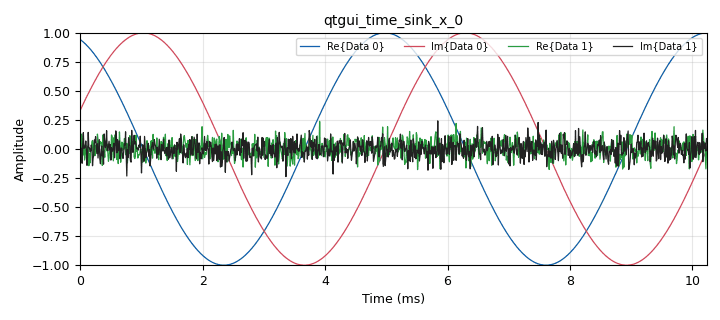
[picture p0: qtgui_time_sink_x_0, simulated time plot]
options:
  parameters:
    generate_options: qt_gui
    id: test_numbersink
    output_language: python
    title: Not titled yet
  states: {}

blocks:
- name: samp_rate
  id: variable
  parameters:
    value: '100000'
  states: {}
- name: analog_noise_source_x_0
  id: analog_noise_source_x
  parameters:
    amp: '0.1'
    noise_type: analog.GR_GAUSSIAN
    seed: '0'
    type: complex
  states: {}
- name: analog_sig_source_x_0
  id: analog_sig_source_x
  parameters:
    amp: '1'
    freq: '190'
    offset: '0'
    phase: '0'
    samp_rate: samp_rate
    type: complex
    waveform: analog.GR_SIN_WAVE
  states: {}
- name: blocks_complex_to_float_0
  id: blocks_complex_to_float
  parameters: {}
  states: {}
- name: blocks_throttle_0
  id: blocks_throttle
  parameters:
    samples_per_second: samp_rate
    type: complex
  states: {}
- name: qtgui_number_sink_0
  id: qtgui_number_sink
  parameters:
    avg: '1'
    graph_type: qtgui.NUM_GRAPH_HORIZ
    max: '2'
    min: '-2'
    name: Amplitud
    type: float
  states: {}
- name: qtgui_time_sink_x_0
  id: qtgui_time_sink_x
  parameters:
    nconnections: '2'
    size: '1024'
    srate: samp_rate
    type: complex
  states: {}

connections:
- [analog_noise_source_x_0, '0', qtgui_time_sink_x_0, '1']
- [analog_sig_source_x_0, '0', blocks_throttle_0, '0']
- [blocks_complex_to_float_0, '0', qtgui_number_sink_0, '0']
- [blocks_throttle_0, '0', blocks_complex_to_float_0, '0']
- [blocks_throttle_0, '0', qtgui_time_sink_x_0, '0']

metadata:
  file_format: 1
  grc_version: 3.10.4.0
